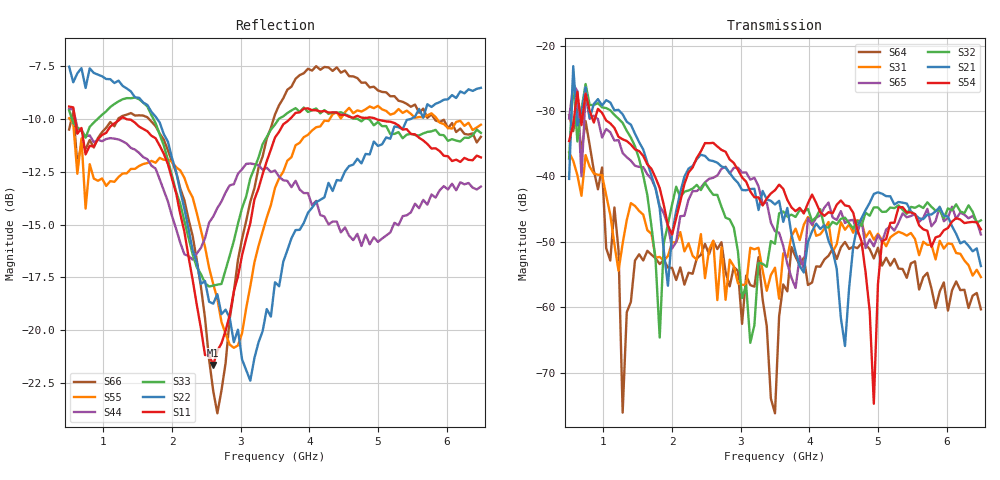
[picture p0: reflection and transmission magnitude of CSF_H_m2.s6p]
!Keysight Technologies,M9804A,MY58100912,A.14.10.03
!Date: Thursday, April 27, 2023 10:28:33
!Correction: S11(C  6-Port  )
!S12(C  6-Port  )
!S13(C  6-Port  )
!S14(C  6-Port  )
!S15(C  6-Port  )
!S16(C  6-Port  )
!S21(C  6-Port  )
!S22(C  6-Port  )
!S23(C  6-Port  )
!S24(C  6-Port  )
!S25(C  6-Port  )
!S26(C  6-Port  )
!S31(C  6-Port  )
!S32(C  6-Port  )
!S33(C  6-Port  )
!S34(C  6-Port  )
!S35(C  6-Port  )
!S36(C  6-Port  )
!S41(C  6-Port  )
!S42(C  6-Port  )
!S43(C  6-Port  )
!S44(C  6-Port  )
!S45(C  6-Port  )
!S46(C  6-Port  )
!S51(C  6-Port  )
!S52(C  6-Port  )
!S53(C  6-Port  )
!S54(C  6-Port  )
!S55(C  6-Port  )
!S56(C  6-Port  )
!S61(C  6-Port  )
!S62(C  6-Port  )
!S63(C  6-Port  )
!S64(C  6-Port  )
!S65(C  6-Port  )
!S66(C  6-Port  )
!S6P File: Measurement: :
# Hz S  RI  R 50
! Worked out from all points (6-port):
!   101 points, 500 MHz to 6.5 GHz, reference 50 ohm
!   strongest paths, dB at 500 MHz, 2 GHz, 3.5 GHz, 5 GHz, 6.5 GHz:
!     S54: -34.6, -48.9, -42.1, -56.5, -48.1
!     S21: -40.4, -48.7, -44.3, -42.4, -53.7
!     S32: -37.3, -44.3, -50.3, -44.8, -46.7
!     S65: -31.2, -51.0, -48.4, -49.0, -48.9
!     S31: -36.3, -50.1, -54.0, -48.8, -55.4
!     S64: -30.7, -54.0, -76.2, -50.9, -60.3
!   lowest |S11| = -21.6 dB at 2.6 GHz (marker M1), VSWR 1.18, Z = 42.6 + j2.07 ohm
!   |S11| at or under -10 dB: 586.7 MHz to 1.246 GHz (659.4 MHz wide, 72 % of centre); 1.335 GHz to 3.715 GHz (2.38 GHz wide, 94.3 % of centre); 4.977 GHz to end of sweep
